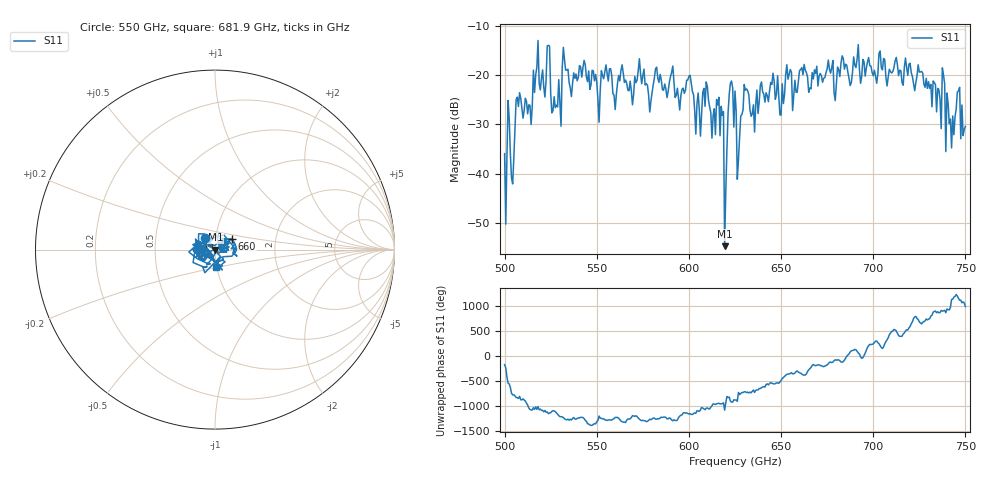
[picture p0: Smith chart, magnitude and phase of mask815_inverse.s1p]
!Created with skrf (http://scikit-rf.org).
# GHz S MA R 50.0
!freq magS11 angS11
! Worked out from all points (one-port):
!   401 points, 500 GHz to 750 GHz, reference 50 ohm
!   lowest |S11| = -54.7 dB at 619.4 GHz (marker M1), VSWR 1.00, Z = 50.2 + j0.0154 ohm
!   |S11| at or under -10 dB: start of sweep to end of sweep
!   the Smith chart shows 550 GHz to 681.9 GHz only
!   S11 on the Smith chart (normalised r, x): 550 GHz: 0.89, +0.11; 660 GHz: 1.20, +0.14; 681.9 GHz: 0.99, -0.19
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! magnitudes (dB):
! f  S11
! 500 GHz  -36.0
! 502.5 GHz  -28.8
! 504.4 GHz  -42.1
! 507.5 GHz  -26.4
! 513.8 GHz  -26.1
! 516.9 GHz  -20.0
! 523.8 GHz  -14.0
! 526.9 GHz  -24.4
! 531.2 GHz  -18.6
! 550 GHz  -21.5
! 562.5 GHz  -21.2
! 593.8 GHz  -22.7
! 600 GHz  -20.2
! 605 GHz  -23.6
! 616.2 GHz  -24.5
! 619.4 GHz  -54.7
! 620.6 GHz  -35.0
! 622.5 GHz  -21.7
! 625 GHz  -23.3
! 627.5 GHz  -32.5
! 631.2 GHz  -22.8
! 634.4 GHz  -27.9
! 656.2 GHz  -27.2
! 660 GHz  -19.1
! 681.9 GHz  -20.3
! 687.5 GHz  -22.1
! 718.8 GHz  -20.1
! 750 GHz  -30.4
